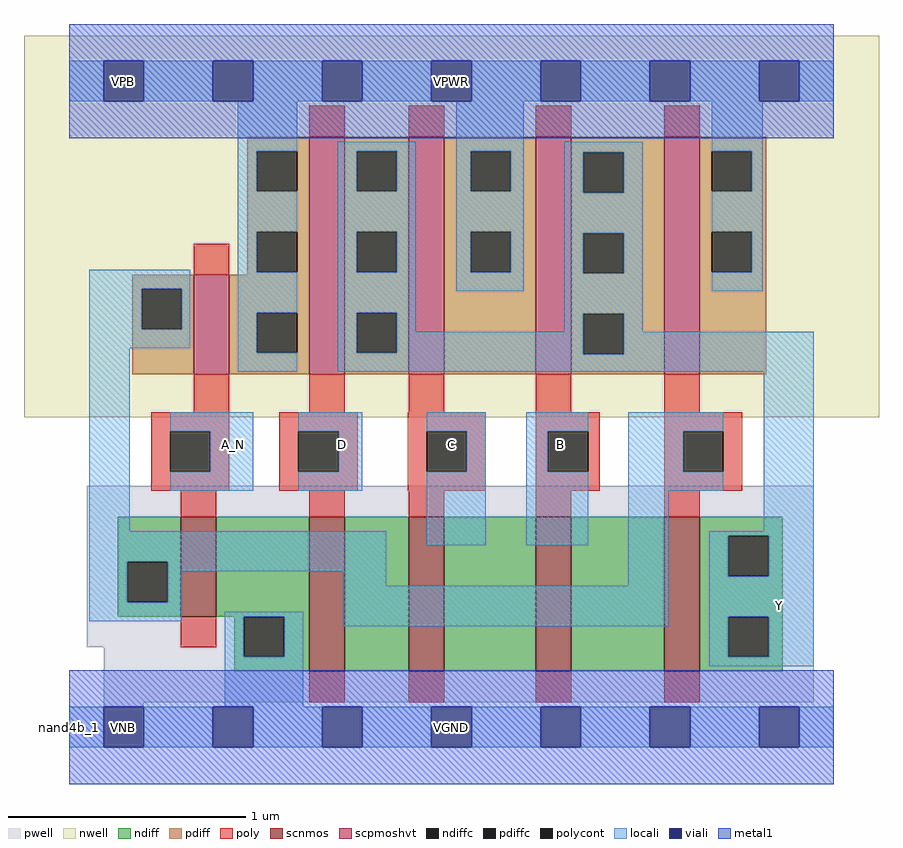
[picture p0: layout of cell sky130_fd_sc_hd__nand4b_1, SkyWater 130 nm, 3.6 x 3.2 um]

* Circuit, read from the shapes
.subckt sky130_fd_sc_hd__nand4b_1 A_N B C D VGND VNB VPB VPWR Y
XM1 VGND A_N n1 VNB sky130_fd_pr__nfet_01v8 w=0.42 l=0.15
XM2 n2 D VGND VNB sky130_fd_pr__nfet_01v8 w=0.65 l=0.15
XM3 n3 C n2 VNB sky130_fd_pr__nfet_01v8 w=0.65 l=0.15
XM4 n4 B n3 VNB sky130_fd_pr__nfet_01v8 w=0.65 l=0.15
XM5 Y n1 n4 VNB sky130_fd_pr__nfet_01v8 w=0.65 l=0.15
XM6 VPWR A_N n1 VPB sky130_fd_pr__pfet_01v8_hvt w=0.42 l=0.15
XM7 Y D VPWR VPB sky130_fd_pr__pfet_01v8_hvt w=1 l=0.15
XM8 VPWR C Y VPB sky130_fd_pr__pfet_01v8_hvt w=1 l=0.15
XM9 Y B VPWR VPB sky130_fd_pr__pfet_01v8_hvt w=1 l=0.15
XM10 VPWR n1 Y VPB sky130_fd_pr__pfet_01v8_hvt w=1 l=0.15
.ends

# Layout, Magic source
magic
tech sky130B
magscale 1 2
<< nwell >>
rect -38 261 682 582
<< pwell >>
rect 15 67 627 203
rect 29 21 627 67
rect 29 -17 63 21
<< scnmos >>
rect 94 93 124 177
rect 202 47 232 177
rect 286 47 316 177
rect 393 47 423 177
rect 501 47 531 177
<< scpmoshvt >>
rect 105 297 135 381
rect 202 297 232 497
rect 286 297 316 497
rect 393 297 423 497
rect 501 297 531 497
<< ndiff >>
rect 41 139 94 177
rect 41 105 49 139
rect 83 105 94 139
rect 41 93 94 105
rect 124 93 202 177
rect 139 59 147 93
rect 181 59 202 93
rect 139 47 202 59
rect 232 47 286 177
rect 316 47 393 177
rect 423 47 501 177
rect 531 161 601 177
rect 531 127 555 161
rect 589 127 601 161
rect 531 93 601 127
rect 531 59 555 93
rect 589 59 601 93
rect 531 47 601 59
<< pdiff >>
rect 150 485 202 497
rect 150 451 158 485
rect 192 451 202 485
rect 150 417 202 451
rect 150 383 158 417
rect 192 383 202 417
rect 150 381 202 383
rect 53 369 105 381
rect 53 335 61 369
rect 95 335 105 369
rect 53 297 105 335
rect 135 349 202 381
rect 135 315 158 349
rect 192 315 202 349
rect 135 297 202 315
rect 232 485 286 497
rect 232 451 242 485
rect 276 451 286 485
rect 232 417 286 451
rect 232 383 242 417
rect 276 383 286 417
rect 232 349 286 383
rect 232 315 242 349
rect 276 315 286 349
rect 232 297 286 315
rect 316 485 393 497
rect 316 451 338 485
rect 372 451 393 485
rect 316 417 393 451
rect 316 383 338 417
rect 372 383 393 417
rect 316 297 393 383
rect 423 484 501 497
rect 423 450 433 484
rect 467 450 501 484
rect 423 416 501 450
rect 423 382 433 416
rect 467 382 501 416
rect 423 348 501 382
rect 423 314 433 348
rect 467 314 501 348
rect 423 297 501 314
rect 531 485 587 497
rect 531 451 541 485
rect 575 451 587 485
rect 531 417 587 451
rect 531 383 541 417
rect 575 383 587 417
rect 531 297 587 383
<< ndiffc >>
rect 49 105 83 139
rect 147 59 181 93
rect 555 127 589 161
rect 555 59 589 93
<< pdiffc >>
rect 158 451 192 485
rect 158 383 192 417
rect 61 335 95 369
rect 158 315 192 349
rect 242 451 276 485
rect 242 383 276 417
rect 242 315 276 349
rect 338 451 372 485
rect 338 383 372 417
rect 433 450 467 484
rect 433 382 467 416
rect 433 314 467 348
rect 541 451 575 485
rect 541 383 575 417
<< poly >>
rect 202 497 232 523
rect 286 497 316 523
rect 393 497 423 523
rect 501 497 531 523
rect 105 381 135 407
rect 105 265 135 297
rect 202 265 232 297
rect 286 265 316 297
rect 393 265 423 297
rect 501 265 531 297
rect 69 249 135 265
rect 69 215 85 249
rect 119 215 135 249
rect 69 199 135 215
rect 177 249 243 265
rect 177 215 193 249
rect 227 215 243 249
rect 177 199 243 215
rect 285 249 351 265
rect 285 215 301 249
rect 335 215 351 249
rect 285 199 351 215
rect 393 249 447 265
rect 393 215 403 249
rect 437 215 447 249
rect 393 199 447 215
rect 501 249 567 265
rect 501 215 517 249
rect 551 215 567 249
rect 501 199 567 215
rect 94 177 124 199
rect 202 177 232 199
rect 286 177 316 199
rect 393 177 423 199
rect 501 177 531 199
rect 94 67 124 93
rect 202 21 232 47
rect 286 21 316 47
rect 393 21 423 47
rect 501 21 531 47
<< polycont >>
rect 85 215 119 249
rect 193 215 227 249
rect 301 215 335 249
rect 403 215 437 249
rect 517 215 551 249
<< locali >>
rect 0 527 29 561
rect 63 527 121 561
rect 155 527 213 561
rect 247 527 305 561
rect 339 527 397 561
rect 431 527 489 561
rect 523 527 581 561
rect 615 527 644 561
rect 142 485 192 527
rect 142 451 158 485
rect 142 417 192 451
rect 17 369 102 385
rect 17 335 61 369
rect 95 335 102 369
rect 17 319 102 335
rect 142 383 158 417
rect 142 349 192 383
rect 17 165 51 319
rect 142 315 158 349
rect 142 299 192 315
rect 226 485 292 493
rect 226 451 242 485
rect 276 451 292 485
rect 226 417 292 451
rect 226 383 242 417
rect 276 383 292 417
rect 226 349 292 383
rect 326 485 383 527
rect 326 451 338 485
rect 372 451 383 485
rect 326 417 383 451
rect 326 383 338 417
rect 372 383 383 417
rect 326 367 383 383
rect 417 484 483 493
rect 417 450 433 484
rect 467 450 483 484
rect 417 416 483 450
rect 417 382 433 416
rect 467 382 483 416
rect 226 315 242 349
rect 276 333 292 349
rect 417 348 483 382
rect 541 485 584 527
rect 575 451 584 485
rect 541 417 584 451
rect 575 383 584 417
rect 541 367 584 383
rect 417 333 433 348
rect 276 315 433 333
rect 226 314 433 315
rect 467 333 483 348
rect 467 314 627 333
rect 226 299 627 314
rect 85 249 155 265
rect 119 215 155 249
rect 85 199 155 215
rect 193 249 247 265
rect 227 215 247 249
rect 193 199 247 215
rect 301 249 351 265
rect 335 215 351 249
rect 17 139 267 165
rect 301 153 351 215
rect 385 249 437 265
rect 385 215 403 249
rect 385 153 437 215
rect 471 249 551 265
rect 471 215 517 249
rect 471 199 551 215
rect 17 105 49 139
rect 83 131 267 139
rect 83 105 95 131
rect 17 89 95 105
rect 231 119 267 131
rect 471 119 505 199
rect 585 165 627 299
rect 131 93 197 97
rect 131 59 147 93
rect 181 59 197 93
rect 231 85 505 119
rect 539 161 627 165
rect 539 127 555 161
rect 589 127 627 161
rect 539 93 627 127
rect 131 17 197 59
rect 539 59 555 93
rect 589 59 627 93
rect 539 51 627 59
rect 0 -17 29 17
rect 63 -17 121 17
rect 155 -17 213 17
rect 247 -17 305 17
rect 339 -17 397 17
rect 431 -17 489 17
rect 523 -17 581 17
rect 615 -17 644 17
<< viali >>
rect 29 527 63 561
rect 121 527 155 561
rect 213 527 247 561
rect 305 527 339 561
rect 397 527 431 561
rect 489 527 523 561
rect 581 527 615 561
rect 29 -17 63 17
rect 121 -17 155 17
rect 213 -17 247 17
rect 305 -17 339 17
rect 397 -17 431 17
rect 489 -17 523 17
rect 581 -17 615 17
<< metal1 >>
rect 0 561 644 592
rect 0 527 29 561
rect 63 527 121 561
rect 155 527 213 561
rect 247 527 305 561
rect 339 527 397 561
rect 431 527 489 561
rect 523 527 581 561
rect 615 527 644 561
rect 0 496 644 527
rect 0 17 644 48
rect 0 -17 29 17
rect 63 -17 121 17
rect 155 -17 213 17
rect 247 -17 305 17
rect 339 -17 397 17
rect 431 -17 489 17
rect 523 -17 581 17
rect 615 -17 644 17
rect 0 -48 644 -17
<< labels >>
flabel locali s 581 85 615 119 0 FreeSans 250 0 0 0 Y
port 9 nsew signal output
flabel locali s 305 221 339 255 0 FreeSans 250 0 0 0 C
port 3 nsew signal input
flabel locali s 213 221 247 255 0 FreeSans 250 0 0 0 D
port 4 nsew signal input
flabel locali s 121 221 155 255 0 FreeSans 250 0 0 0 A_N
port 1 nsew signal input
flabel locali s 397 221 431 255 0 FreeSans 250 0 0 0 B
port 2 nsew signal input
flabel nwell s 29 527 63 561 0 FreeSans 200 0 0 0 VPB
port 7 nsew power bidirectional
flabel pwell s 29 -17 63 17 0 FreeSans 200 0 0 0 VNB
port 6 nsew ground bidirectional
flabel metal1 s 29 -17 63 17 0 FreeSans 200 0 0 0 VGND
port 5 nsew ground bidirectional abutment
flabel metal1 s 29 527 63 561 0 FreeSans 200 0 0 0 VPWR
port 8 nsew power bidirectional abutment
rlabel comment s 0 0 0 0 4 nand4b_1
rlabel metal1 s 0 -48 644 48 1 VGND
port 5 nsew ground bidirectional abutment
rlabel metal1 s 0 496 644 592 1 VPWR
port 8 nsew power bidirectional abutment
<< properties >>
string FIXED_BBOX 0 0 644 544
string GDS_END 1896174
string GDS_FILE $PDKPATH/libs.ref/sky130_fd_sc_hd/gds/sky130_fd_sc_hd.gds
string GDS_START 1890360
string LEFclass CORE
string LEFsite unithd
string LEFsymmetry X Y R90
string path 0.000 0.000 16.100 0.000 
<< end >>
